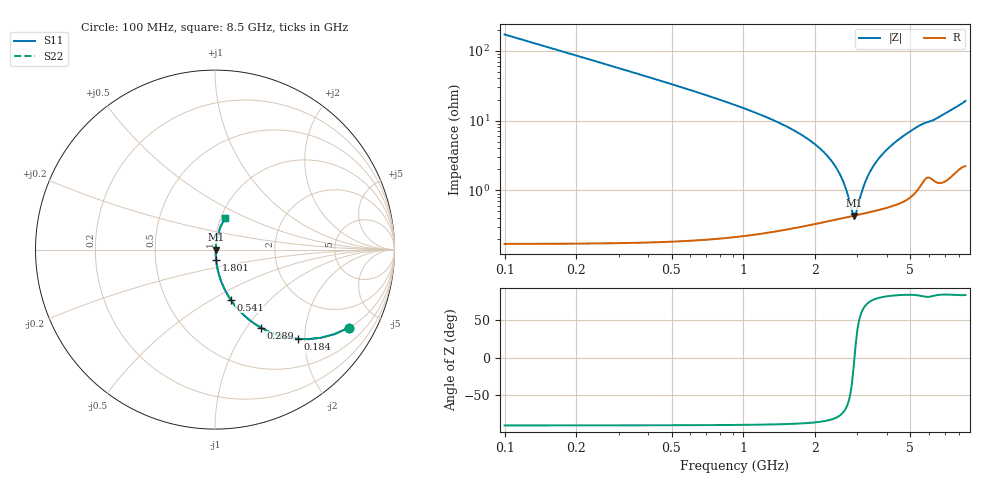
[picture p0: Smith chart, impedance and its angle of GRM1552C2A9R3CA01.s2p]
!Murata Part Number: GRM1552C2A9R3CA01
!These Parameters are Measured in Series Mode Connection
!Data Generated on Mar 30, 2021
!  o--ll--o
!Port1  Port2
!  o------o
!Operation Temp=25[degC], DC Bias Voltage=0[V]
!Freq. Start=100[MHz] Stop=9[GHz] 401[Steps]
# Hz S RI R 50
!Freq.(Hz) S11(Real) S11(Imag) S21(Real) S21(Imag) S12(Real) S12(Imag) S22(Real) S22(Imag)
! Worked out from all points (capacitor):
!   401 points, 100 MHz to 8.5 GHz, reference 50 ohm
!   read as one part in series: C = 9.3 pF near 142 MHz
!   lowest |Z| = 434 mohm at 2.914 GHz (marker M1)
!   series resonance near 2.917 GHz, so ESL is about 320 pH
!   S11 on the Smith chart (normalised r, x): 100 MHz: 1.00, -3.42; 184 MHz: 1.00, -1.85; 289 MHz: 1.00, -1.17; 541 MHz: 1.00, -0.61; 1.801 GHz: 1.01, -0.12; 8.5 GHz: 1.04, +0.38
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1e8  0.7448 -0.4355  0.2552 0.4355  0.2552 0.4355  0.7448 -0.4355
1.84e8  0.4619 -0.4976  0.5381 0.4976  0.5381 0.4976  0.4619 -0.4976
2.89e8  0.2564 -0.4352  0.7436 0.4352  0.7436 0.4352  0.2564 -0.4352
3.94e8  0.1548 -0.3596  0.8452 0.3596  0.8452 0.3596  0.1548 -0.3596
5.41e8  0.0866 -0.2783  0.9134 0.2783  0.9134 0.2783  0.0866 -0.2783
9.19e8  0.0292 -0.1622  0.9708 0.1622  0.9708 0.1622  0.0292 -0.1622
1.507e9  0.00951 -0.082  0.9905 0.082  0.9905 0.082  0.00951 -0.082
1.801e9  0.00644 -0.058  0.9936 0.058  0.9936 0.058  0.00644 -0.058
2.179e9  0.00467 -0.0343  0.9953 0.0343  0.9953 0.0343  0.00467 -0.0343
2.452e9  0.00421 -0.0203  0.9958 0.0203  0.9958 0.0203  0.00421 -0.0203
2.641e9  0.00415 -0.0116  0.9959 0.0116  0.9959 0.0116  0.00415 -0.0116
2.851e9  0.00426 -0.00267  0.9957 0.00267  0.9957 0.00267  0.00426 -0.00267
2.914e9  0.00432 -0.000123  0.9957 0.000123  0.9957 0.000123  0.00432 -0.000123
2.977e9  0.00439 0.00237  0.9956 -0.00237  0.9956 -0.00237  0.00439 0.00237
3.208e9  0.00477 0.0111  0.9952 -0.0111  0.9952 -0.0111  0.00477 0.0111
3.439e9  0.00528 0.0193  0.9947 -0.0193  0.9947 -0.0193  0.00528 0.0193
3.796e9  0.00632 0.0313  0.9937 -0.0313  0.9937 -0.0313  0.00632 0.0313
4.3e9  0.0083 0.0472  0.9917 -0.0472  0.9917 -0.0472  0.0083 0.0472
4.993e9  0.0125 0.0682  0.9875 -0.0682  0.9875 -0.0682  0.0125 0.0682
5.707e9  0.0214 0.0871  0.9786 -0.0871  0.9786 -0.0871  0.0214 0.0871
7.114e9  0.0297 0.1244  0.9703 -0.1244  0.9703 -0.1244  0.0297 0.1244
8.5e9  0.0541 0.1752  0.9459 -0.1752  0.9459 -0.1752  0.0541 0.1752
